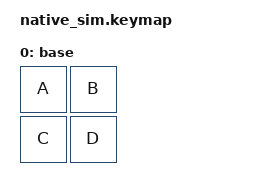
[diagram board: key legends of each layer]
/*
 * Copyright (c) 2026 amgskobo
 * SPDX-License-Identifier: MIT
 */

#include <behaviors.dtsi>
#include <physical_layouts.dtsi>
#include <dt-bindings/zmk/matrix_transform.h>
#include <dt-bindings/zmk/keys.h>
#include <dt-bindings/zmk/kscan_mock.h>

/ {
    physical_layout {
        compatible = "zmk,physical-layout";
        display-name = "Test";
        transform = <&transform>;
        keys = <&key_physical_attrs 100 100 0 0 0 0 0>,
               <&key_physical_attrs 100 100 100 0 0 0 0>,
               <&key_physical_attrs 100 100 0 100 0 0 0>,
               <&key_physical_attrs 100 100 100 100 0 0 0>;
    };
    transform: transform {
        compatible = "zmk,matrix-transform";
        rows = <2>; columns = <2>;
        map = <RC(0,0) RC(0,1) RC(1,0) RC(1,1)>;
    };
    independent_runtime: glide_other {
        compatible = "zmk,input-processor-inertia";
        #input-processor-cells = <0>;
    };
    keymap {
        compatible = "zmk,keymap";

        base {
            bindings = <&kp A &kp B &kp C &kp D>;
        };
    };

    inertia_runtime_test: glide_runtime {
        compatible = "zmk,input-processor-inertia";
        #input-processor-cells = <0>;
        trigger-ms = <20>;
        move-decay-factor-int = <90>;
        move-report-interval-ms = <100>;
        move-threshold-start = <15>;
        move-threshold-stop = <1>;
        scroll-decay-factor-int = <85>;
        scroll-report-interval-ms = <100>;
        scroll-threshold-start = <2>;
        scroll-threshold-stop = <0>;
        cancel-scroll-inertia-on-ctrl;
    };
};

&kscan {
    events = <ZMK_MOCK_PRESS(0,0,30000)>;
};
